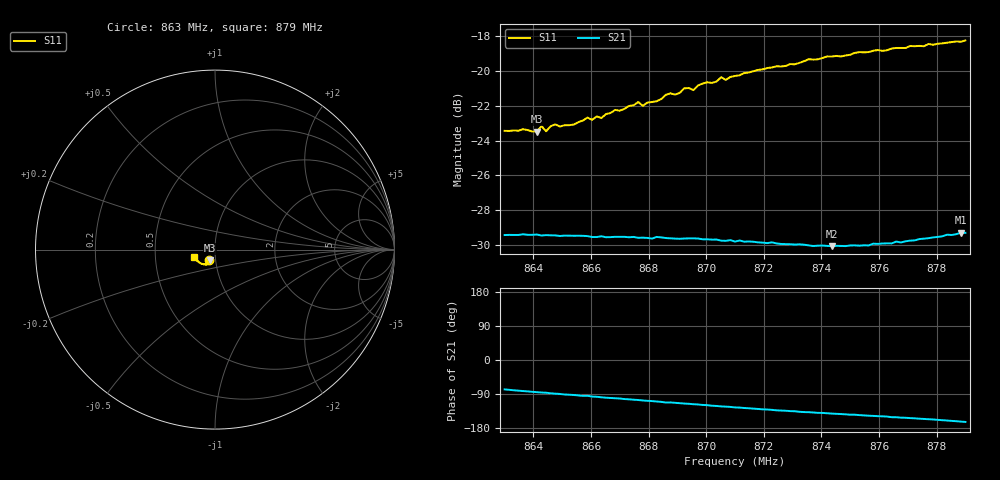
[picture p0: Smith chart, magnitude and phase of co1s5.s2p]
# HZ S RI R 50
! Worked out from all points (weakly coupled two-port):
!   101 points, 863 MHz to 879 MHz, reference 50 ohm
!   highest |S21| = -29.30 dB at 878.84 MHz (marker M1); lowest = -30.1 dB at 874.36 MHz (marker M2)
!   lowest |S11| = -23.5 dB at 864.12 MHz (marker M3), VSWR 1.14, Z = 46.8 - j5.68 ohm
!   |S11| at or under -10 dB: start of sweep to end of sweep
!   S12 and S22 are empty: the file has one direction only
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8.63e8  -0.0318 -0.0594  0.00725 -0.033  0 0  0 0
8.6412e8  -0.0291 -0.0604  0.00302 -0.0337  0 0  0 0
8.6428e8  -0.0301 -0.0627  0.00244 -0.0336  0 0  0 0
8.6444e8  -0.0301 -0.06  0.00218 -0.0337  0 0  0 0
8.6476e8  -0.0292 -0.064  0.000678 -0.0337  0 0  0 0
8.6492e8  -0.0287 -0.063  0.000244 -0.0336  0 0  0 0
8.6572e8  -0.0275 -0.0667  -0.00274 -0.0335  0 0  0 0
8.6636e8  -0.0291 -0.0673  -0.00492 -0.0331  0 0  0 0
8.6764e8  -0.0331 -0.0745  -0.00891 -0.0319  0 0  0 0
8.678e8  -0.0321 -0.0727  -0.0096 -0.0318  0 0  0 0
8.6844e8  -0.035 -0.0754  -0.0116 -0.0311  0 0  0 0
8.6908e8  -0.0382 -0.0777  -0.0134 -0.0301  0 0  0 0
8.6924e8  -0.041 -0.0793  -0.0139 -0.0299  0 0  0 0
8.6956e8  -0.0385 -0.0794  -0.0149 -0.0295  0 0  0 0
8.7052e8  -0.0499 -0.0821  -0.0175 -0.0274  0 0  0 0
8.7068e8  -0.0477 -0.0815  -0.0177 -0.0272  0 0  0 0
8.71e8  -0.0508 -0.0825  -0.0186 -0.0264  0 0  0 0
8.7372e8  -0.0723 -0.0802  -0.0235 -0.0208  0 0  0 0
8.7436e8  -0.0793 -0.0765  -0.0245 -0.0196  0 0  0 0
8.7644e8  -0.0966 -0.0646  -0.0279 -0.0155  0 0  0 0
8.7884e8  -0.1133 -0.0439  -0.0327 -0.0103  0 0  0 0
8.79e8  -0.1152 -0.042  -0.0328 -0.00976  0 0  0 0
